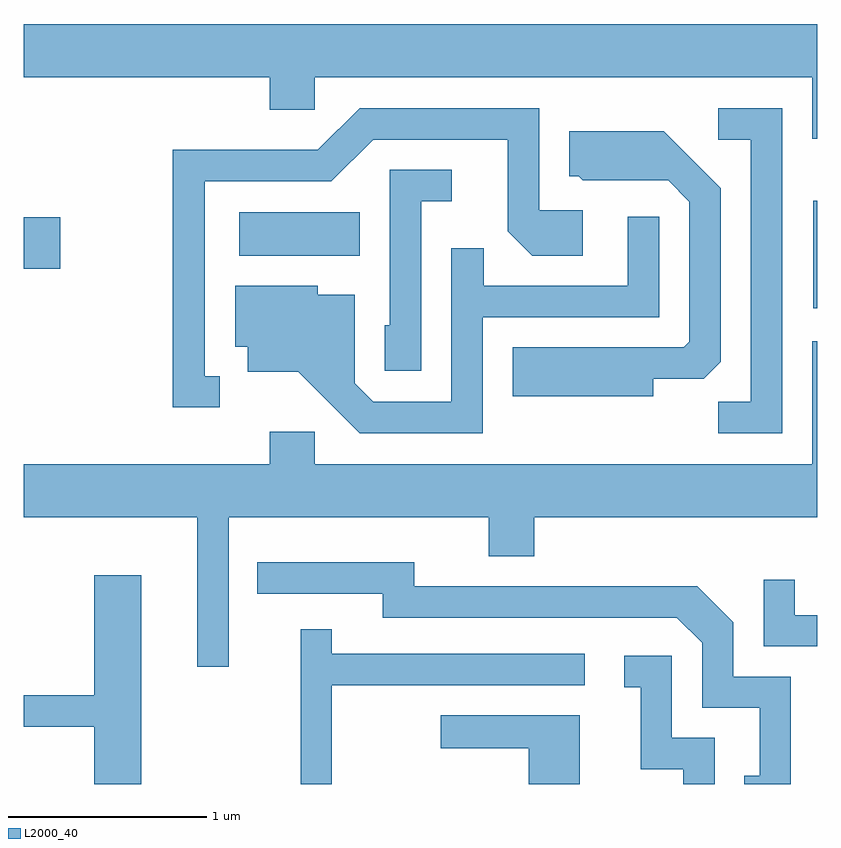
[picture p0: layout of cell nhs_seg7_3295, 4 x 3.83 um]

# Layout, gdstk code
import gdstk
lib = gdstk.Library(unit=1e-6, precision=1e-09)
def R(c, l, rs):  # rectangles x0, y0, x1, y1
    for r in rs: c.add(gdstk.rectangle(r[:2], r[2:], *l))
def P(c, l, *ps):  # polygons
    for p in ps: c.add(gdstk.Polygon(p, *l))
L2000_40 = (2000, 40)

nhs_seg7_3295 = lib.new_cell('nhs_seg7_3295')
R(nhs_seg7_3295, L2000_40, [(289.591,1768.651,289.611,1769.194), (285.611,1768.851,285.794,1769.109), (286.696,1768.916,287.304,1769.134)])
P(nhs_seg7_3295, L2000_40, [(289.611,1770.084),(285.611,1770.084),(285.611,1769.816),(286.851,1769.816),(286.851,1769.651),(287.079,1769.651),(287.079,1769.816),(289.586,1769.816),(289.586,1769.506),(289.611,1769.506)],
  [(286.598,1768.309),(286.524,1768.309),(286.524,1769.291),(287.162,1769.291),(287.372,1769.501),(288.051,1769.501),(288.051,1769.039),(288.174,1768.916),(288.429,1768.916),(288.429,1769.144),(288.209,1769.144),(288.209,1769.659),(287.304,1769.659),(287.094,1769.449),(286.361,1769.449),(286.361,1768.151),(286.598,1768.151)],
  [(289.434,1769.659),(289.113,1769.659),(289.113,1769.501),(289.276,1769.501),(289.276,1768.179),(289.113,1768.179),(289.113,1768.021),(289.434,1768.021)],
  [(288.784,1768.296),(289.039,1768.296),(289.124,1768.382),(289.124,1769.257),(288.837,1769.544),(288.361,1769.544),(288.361,1769.316),(288.409,1769.316),(288.429,1769.296),(288.859,1769.296),(288.966,1769.189),(288.966,1768.482),(288.939,1768.454),(288.076,1768.454),(288.076,1768.206),(288.784,1768.206)],
  [(287.614,1769.191),(287.768,1769.191),(287.768,1769.349),(287.456,1769.349),(287.456,1768.564),(287.431,1768.564),(287.431,1768.336),(287.614,1768.336)],
  [(287.924,1768.606),(288.814,1768.606),(288.814,1769.113),(288.656,1769.113),(288.656,1768.764),(287.929,1768.764),(287.929,1768.953),(287.766,1768.953),(287.766,1768.179),(287.372,1768.179),(287.279,1768.272),(287.279,1768.719),(287.094,1768.719),(287.094,1768.764),(286.676,1768.764),(286.676,1768.456),(286.741,1768.456),(286.741,1768.331),(286.994,1768.331),(287.304,1768.021),(287.924,1768.021)],
  [(286.644,1767.596),(287.956,1767.596),(287.956,1767.401),(288.184,1767.401),(288.184,1767.596),(289.611,1767.596),(289.611,1768.484),(289.586,1768.484),(289.586,1767.864),(287.079,1767.864),(287.079,1768.029),(286.851,1768.029),(286.851,1767.864),(285.611,1767.864),(285.611,1767.596),(286.486,1767.596),(286.486,1766.843),(286.644,1766.843)],
  [(289.479,1766.794),(289.189,1766.794),(289.189,1767.067),(289.007,1767.249),(287.579,1767.249),(287.579,1767.369),(286.788,1767.369),(286.788,1767.211),(287.421,1767.211),(287.421,1767.091),(288.904,1767.091),(289.031,1766.964),(289.031,1766.636),(289.321,1766.636),(289.321,1766.294),(289.243,1766.294),(289.243,1766.252),(289.479,1766.252)],
  [(286.204,1767.304),(285.966,1767.304),(285.966,1766.699),(285.611,1766.699),(285.611,1766.541),(285.966,1766.541),(285.966,1766.252),(286.204,1766.252)],
  [(289.611,1767.104),(289.499,1767.104),(289.499,1767.283),(289.341,1767.283),(289.341,1766.946),(289.611,1766.946)],
  [(287.164,1766.751),(288.438,1766.751),(288.438,1766.909),(287.164,1766.909),(287.164,1767.033),(287.006,1767.033),(287.006,1766.252),(287.164,1766.252)],
  [(289.094,1766.484),(288.879,1766.484),(288.879,1766.899),(288.638,1766.899),(288.638,1766.741),(288.721,1766.741),(288.721,1766.326),(288.936,1766.326),(288.936,1766.252),(289.094,1766.252)],
  [(288.414,1766.599),(287.713,1766.599),(287.713,1766.431),(288.156,1766.431),(288.156,1766.252),(288.414,1766.252)])

lib.write_gds('nhs_seg7_3295.gds')
